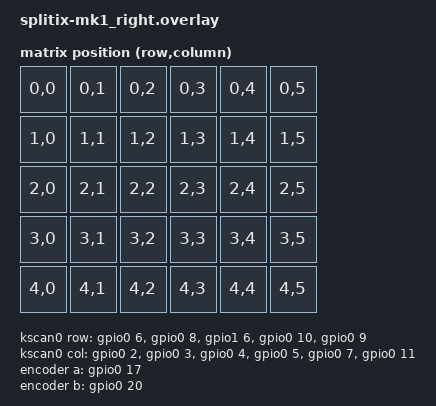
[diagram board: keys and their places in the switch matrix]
#include <dt-bindings/zmk/matrix_transform.h>
#include <dt-bindings/pinctrl/nrf-pinctrl.h>

/ {
    chosen {
        zmk,kscan = &kscan0;
        zmk,matrix_transform = &transform0;
    };

    kscan0: kscan {
        compatible = "zmk,kscan-gpio-matrix";
        diode-direction = "col2row";

        row-gpios = <&gpio0 6 GPIO_PULL_DOWN>,
                    <&gpio0 8 GPIO_PULL_DOWN>,
                    <&gpio1 6 GPIO_PULL_DOWN>,
                    <&gpio0 10 GPIO_PULL_DOWN>,
                    <&gpio0 9 GPIO_PULL_DOWN>;

        col-gpios = <&gpio0 2 GPIO_PULL_UP>,
                    <&gpio0 3 GPIO_PULL_UP>,
                    <&gpio0 4 GPIO_PULL_UP>,
                    <&gpio0 5 GPIO_PULL_UP>,
                    <&gpio0 7 GPIO_PULL_UP>,
                    <&gpio0 11 GPIO_PULL_UP>;
    };

    transform0: matrix_transform {
        compatible = "zmk,matrix-transform";
        rows = <5>;
        columns = <6>;

        map = <
            RC(0,0) RC(0,1) RC(0,2) RC(0,3) RC(0,4) RC(0,5)
            RC(1,0) RC(1,1) RC(1,2) RC(1,3) RC(1,4) RC(1,5)
            RC(2,0) RC(2,1) RC(2,2) RC(2,3) RC(2,4) RC(2,5)
            RC(3,0) RC(3,1) RC(3,2) RC(3,3) RC(3,4) RC(3,5)
            RC(4,0) RC(4,1) RC(4,2) RC(4,3) RC(4,4) RC(4,5)
        >;
    };

    encoder: encoder {
        compatible = "alps,ec11";
        a-gpios = <&gpio0 17 GPIO_PULL_UP>;
        b-gpios = <&gpio0 20 GPIO_PULL_UP>;
        steps = <80>;
    };

    sensors {
        compatible = "zmk,keymap-sensors";
        sensors = <&encoder>;
        triggers-per-rotation = <20>;
    };

    pinctrl {
        i2c0_default: i2c0_default {
            group1 {
                psels = <NRF_PSEL(I2C_SDA, 1, 0)>,
                        <NRF_PSEL(I2C_SCL, 0, 11)>;
                bias-pull-up;
            };
        };
    };

    &i2c0 {
        status = "okay";
        pinctrl-0 = <&i2c0_default>;
        pinctrl-names = "default";
        clock-frequency = <400000>;

        ssd1306: ssd1306@3c {
            compatible = "solomon,ssd1306";
            reg = <0x3c>;
            width = <128>;
            height = <32>;
            segment-offset = <0>;
            page-offset = <0>;
            precharge-period = <0x22>;
            com-inv = "yes";
        };
    };
};
